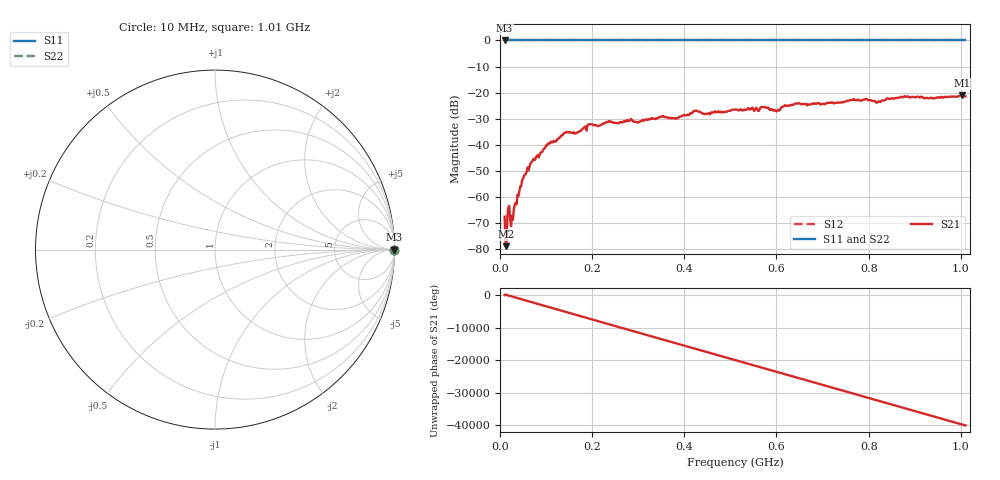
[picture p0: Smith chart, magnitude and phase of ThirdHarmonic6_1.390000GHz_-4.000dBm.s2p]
! 8/16/2025 3:50:05 PM
! C:\ANRITSUVNA\TEMP\TEMP.S2P
! CHANNEL.1
! TR.MEASUREMENT
! RAW.DATA
! RF.CORRECTION.OFF
! AVERAGING.OFF
! IF.BANDWIDTH: 5KHZ
! SWEEPTYPE:  FREQ.SWEEP(Linear)
! Reference Plane Port Info
! PORT:  PORT1  PORT2
! DISTANCE:  0  m  0  m
! TIME:  0  s  0  s
! PHASE.OFFSET:  0  deg.  0  deg.
! LOSS:  0  dB  0  dB
! REF.LOSS:  0  dB  0  dB
! REF.FREQ:  0  Hz  0  Hz
! Power Info
! POWER:  -20  dBm  -20  dBm
! EFF.POWER:  -20  dBm  -20  dBm
! SOURCE.ATTEN:  0  dB  0  dB
! TEST.ATTEN:  0  dB  0  dB
# GHZ S RI R 50.0
! FREQ.GHZ  S11RE  S11IM  S21RE  S21IM  S12RE  S12IM  S22RE  S22IM
!; PortSelection: Port_12
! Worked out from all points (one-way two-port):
!   501 points, 10 MHz to 1.01 GHz, reference 50 ohm
!   highest |S21| = -21.08 dB at 1.002 GHz (marker M1); lowest = -79.0 dB at 14 MHz (marker M2)
!   lowest |S11| = 0.0 dB at 10 MHz (marker M3)
!   |S11| at or under -10 dB: nowhere
!   |S22| runs from 0.0 to 0.0 dB; largest |S21 - S12| = 1.1
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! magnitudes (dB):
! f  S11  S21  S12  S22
! 10 MHz  0.0  -67.6  0.0  0.0
! 14 MHz  0.0  -79.0  0.0  0.0
! 20 MHz  0.0  -63.5  0.0  0.0
! 26 MHz  0.0  -67.2  0.0  0.0
! 48 MHz  0.0  -53.7  0.0  0.0
! 70 MHz  0.0  -46.4  0.0  0.0
! 104 MHz  0.0  -39.6  0.0  0.0
! 142 MHz  0.0  -35.5  0.0  0.0
! 178 MHz  0.0  -34.2  0.0  0.0
! 196 MHz  0.0  -32.2  0.0  0.0
! 344 MHz  0.0  -29.7  0.0  0.0
! 382 MHz  0.0  -29.8  0.0  0.0
! 424 MHz  0.0  -27.0  0.0  0.0
! 446 MHz  0.0  -28.2  0.0  0.0
! 510 MHz  0.0  -26.5  0.0  0.0
! 572 MHz  0.0  -25.6  0.0  0.0
! 602 MHz  0.0  -27.0  0.0  0.0
! 644 MHz  0.0  -24.2  0.0  0.0
! 678 MHz  0.0  -24.4  0.0  0.0
! 844 MHz  0.0  -22.4  0.0  0.0
! 1.002 GHz  0.0  -21.1  0.0  0.0
! 1.01 GHz  0.0  -21.5  0.0  0.0
